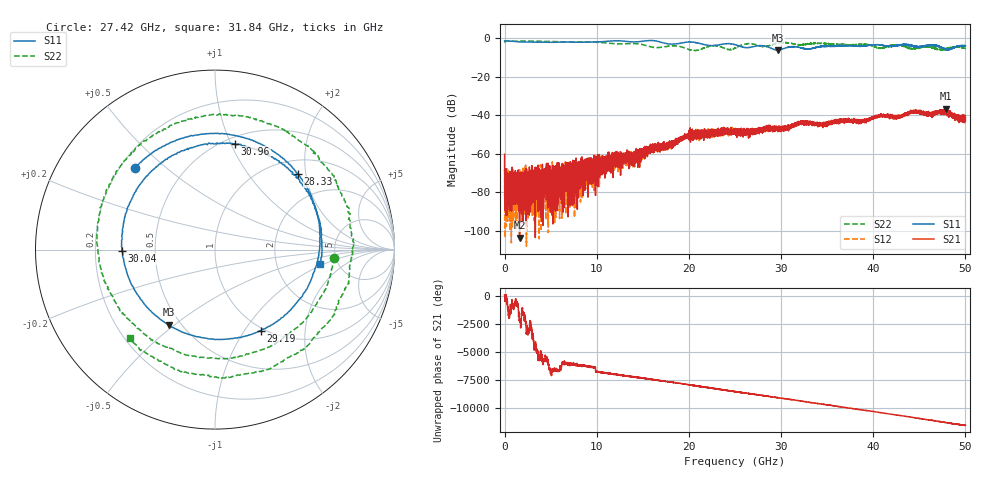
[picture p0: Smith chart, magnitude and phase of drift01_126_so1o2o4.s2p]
!Created with skrf (http://scikit-rf.org).
# Hz S RI R 50.0
!freq ReS11 ImS11 ReS21 ImS21 ReS12 ImS12 ReS22 ImS22
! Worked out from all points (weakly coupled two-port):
!   10001 points, 300 kHz to 50 GHz, reference 50 ohm
!   highest |S21| = -36.60 dB at 47.86 GHz (marker M1); lowest = -103.8 dB at 1.625 GHz (marker M2)
!   lowest |S11| = -6.2 dB at 29.62 GHz (marker M3), VSWR 2.94, Z = 21.6 - j23.8 ohm
!   |S11| at or under -10 dB: nowhere
!   |S22| runs from -6.4 to -1.4 dB; largest |S21 - S12| = 0.0039
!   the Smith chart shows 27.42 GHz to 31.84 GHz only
!   S11 on the Smith chart (normalised r, x): 27.42 GHz: 0.26, +0.40; 28.33 GHz: 1.30, +1.80; 29.19 GHz: 0.96, -1.19; 30.04 GHz: 0.32, -0.01; 30.96 GHz: 0.56, +1.04; 31.84 GHz: 3.65, -0.88
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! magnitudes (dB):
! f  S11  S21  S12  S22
! 300 kHz  -1.3  -60.3  -68.0  -2.1
! 265.3 MHz  -1.4  -74.5  -81.4  -1.4
! 1.625 GHz  -1.8  -103.8  -67.8  -1.4
! 4.04 GHz  -2.0  -78.2  -77.4  -1.5
! 5.62 GHz  -2.0  -72.9  -84.5  -1.7
! 8.335 GHz  -2.0  -68.8  -66.5  -1.8
! 16.67 GHz  -1.6  -58.1  -57.4  -4.8
! 20.17 GHz  -1.9  -54.0  -51.0  -6.0
! 22.62 GHz  -3.8  -48.2  -49.6  -3.8
! 25 GHz  -3.3  -49.1  -48.0  -5.0
! 27.42 GHz  -3.9  -47.5  -49.3  -3.6
! 28.33 GHz  -4.1  -46.8  -48.4  -4.3
! 29.19 GHz  -5.7  -47.8  -46.2  -3.0
! 29.62 GHz  -6.2  -46.4  -47.2  -2.5
! 30.04 GHz  -5.7  -46.8  -47.8  -2.2
! 30.96 GHz  -4.5  -46.6  -46.0  -2.5
! 31.84 GHz  -4.6  -45.3  -44.3  -3.3
! 33.34 GHz  -5.3  -43.7  -44.4  -2.7
! 41.67 GHz  -4.2  -40.2  -40.6  -4.2
! 46.52 GHz  -3.6  -39.0  -39.0  -4.8
! 47.86 GHz  -5.7  -36.6  -37.7  -5.3
! 50 GHz  -3.8  -42.5  -41.6  -5.3
